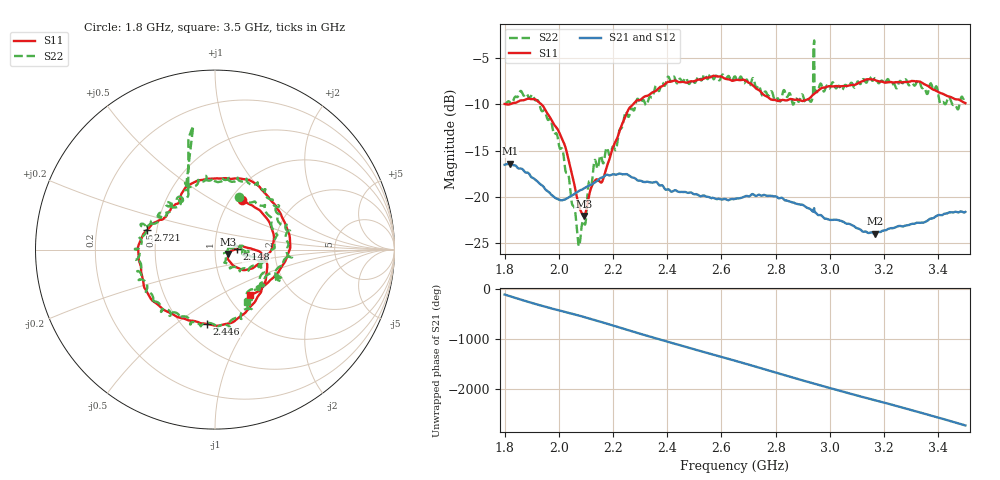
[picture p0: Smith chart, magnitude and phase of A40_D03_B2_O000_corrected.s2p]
! Created with skrf 1.9.0 (http://scikit-rf.org).
# Hz S RI R 50.0
!freq ReS11 ImS11 ReS21 ImS21 ReS12 ImS12 ReS22 ImS22
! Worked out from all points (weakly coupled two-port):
!   1601 points, 1.8 GHz to 3.5 GHz, reference 50 ohm
!   highest |S21| = -16.42 dB at 1.82 GHz (marker M1); lowest = -24.0 dB at 3.165 GHz (marker M2)
!   lowest |S11| = -22.1 dB at 2.092 GHz (marker M3), VSWR 1.17, Z = 58 - j2.84 ohm
!   |S11| at or under -10 dB: 1.806 GHz to 1.82 GHz (13.4 MHz wide, 0.739 % of centre); 1.936 GHz to 2.274 GHz (338.2 MHz wide, 16.1 % of centre)
!   |S22| runs from -25.3 to -3.1 dB; largest |S21 - S12| = 0.0026
!   S11 on the Smith chart (normalised r, x): 1.8 GHz: 1.13, +0.70; 2.148 GHz: 1.28, +0.01; 2.446 GHz: 0.65, -0.65; 2.721 GHz: 0.44, +0.12; 3.5 GHz: 1.26, -0.71
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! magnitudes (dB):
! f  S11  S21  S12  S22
! 1.8 GHz  -10.0  -16.5  -16.5  -9.9
! 1.82 GHz  -10.0  -16.4  -16.4  -9.8
! 1.903 GHz  -9.5  -17.9  -17.9  -9.0
! 1.968 GHz  -11.4  -19.6  -19.7  -11.6
! 2.015 GHz  -13.9  -20.3  -20.4  -15.0
! 2.072 GHz  -20.7  -19.4  -19.4  -25.1
! 2.084 GHz  -21.7  -19.2  -19.2  -23.3
! 2.092 GHz  -22.1  -19.1  -19.1  -22.7
! 2.113 GHz  -19.6  -18.8  -18.8  -18.3
! 2.148 GHz  -18.3  -18.1  -18.1  -16.2
! 2.209 GHz  -14.0  -17.6  -17.6  -15.0
! 2.259 GHz  -10.4  -17.7  -17.7  -11.3
! 2.367 GHz  -8.3  -18.6  -18.6  -8.5
! 2.446 GHz  -7.6  -19.5  -19.5  -7.2
! 2.65 GHz  -7.4  -20.2  -20.2  -7.0
! 2.721 GHz  -8.1  -19.8  -19.7  -7.5
! 2.867 GHz  -9.5  -20.6  -20.6  -10.0
! 2.929 GHz  -9.2  -21.4  -21.4  -9.7
! 2.934 GHz  -9.1  -21.5  -21.5  -9.6
! 3.165 GHz  -7.4  -24.0  -23.9  -7.2
! 3.217 GHz  -7.6  -23.4  -23.4  -7.4
! 3.5 GHz  -9.9  -21.6  -21.6  -9.3
